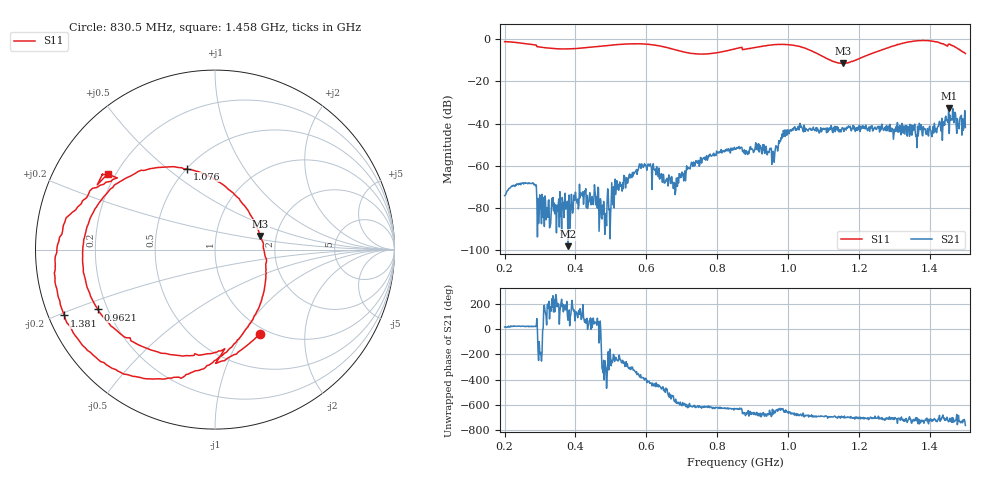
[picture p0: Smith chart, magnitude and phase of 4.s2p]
! NanoVNA-App
! Date: 2024-06-25 16:49:49
! Start: 200MHz Stop: 1.5GHz Points: 801
! S-Parameter data: F S11 S21 S12 S22
# Hz S RI R 50
!  Frequency  S11_Real  S11_Imag  S21_Real  S21_Imag  S12_Real  S12_Imag  S22_Real  S22_Imag
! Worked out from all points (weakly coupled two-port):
!   801 points, 200 MHz to 1.5 GHz, reference 50 ohm
!   highest |S21| = -32.76 dB at 1.453 GHz (marker M1); lowest = -98.0 dB at 378.8 MHz (marker M2)
!   lowest |S11| = -11.6 dB at 1.155 GHz (marker M3), VSWR 1.71, Z = 82.2 + j13.5 ohm
!   |S11| at or under -10 dB: 1.118 GHz to 1.191 GHz (72.88 MHz wide, 6.31 % of centre)
!   S12 and S22 are empty: the file has one direction only
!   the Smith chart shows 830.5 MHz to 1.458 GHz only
!   S11 on the Smith chart (normalised r, x): 830.5 MHz: 0.91, -1.20; 962.1 MHz: 0.16, -0.23; 1.076 GHz: 0.50, +0.58; 1.381 GHz: 0.05, -0.21; 1.458 GHz: 0.17, +0.31
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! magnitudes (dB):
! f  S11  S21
! 200 MHz  -1.3  -74.1
! 274.8 MHz  -2.6  -68.3
! 297.5 MHz  -3.8  -81.6
! 378.8 MHz  -4.7  -98.0
! 417.8 MHz  -4.3  -73.4
! 481.1 MHz  -3.3  -81.7
! 583.5 MHz  -2.3  -60.9
! 633.9 MHz  -3.2  -65.2
! 681 MHz  -5.1  -73.6
! 733 MHz  -7.0  -58.2
! 830.5 MHz  -5.5  -53.1
! 850 MHz  -4.7  -52.2
! 962.1 MHz  -2.7  -54.2
! 993 MHz  -2.6  -43.2
! 1.068 GHz  -5.8  -43.1
! 1.076 GHz  -6.4  -43.4
! 1.155 GHz  -11.6  -42.3
! 1.284 GHz  -4.0  -41.2
! 1.381 GHz  -0.8  -41.5
! 1.453 GHz  -2.5  -32.8
! 1.458 GHz  -2.8  -38.6
! 1.5 GHz  -6.9  -41.9
